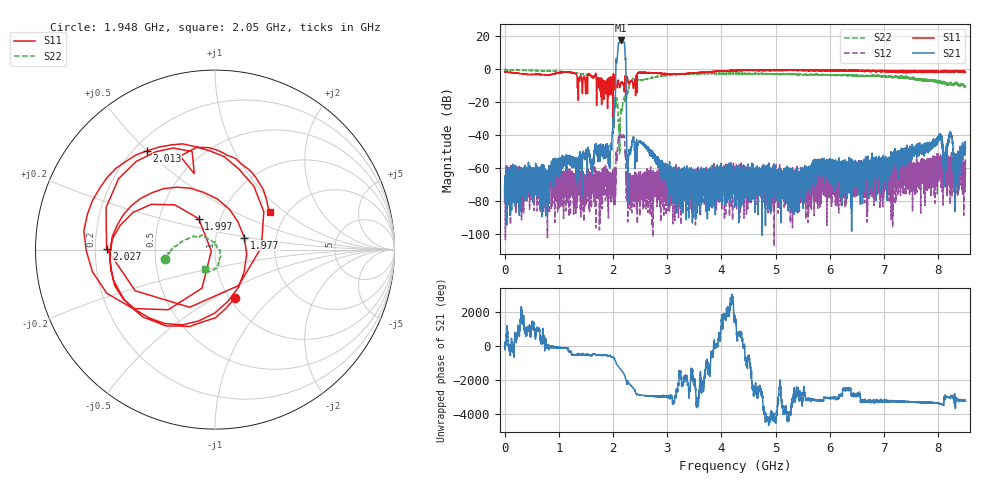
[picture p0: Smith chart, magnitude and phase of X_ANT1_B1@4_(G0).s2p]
#  HZ  S  RI  R  50.00
! Rohde & Schwarz Vector Network Analyzer
! Rohde-Schwarz,ZNBT8-20Port,1318700624101681,3.50
! Created: UTC 7/15/2025, 2:09:00 PM
! freq[Hz]  re:S1010  im:S1010  re:S0410  im:S0410  re:S1004  im:S1004  re:S44  im:S44
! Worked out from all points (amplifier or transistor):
!   8500 points, 1 MHz to 8.5 GHz, reference 50 ohm
!   highest |S21| = 17.5 dB at 2.144 GHz (marker M1)
!   |S21| within 3 dB of that: 2.095 GHz to 2.215 GHz (119.6 MHz wide, 5.55 % of centre)
!   unconditionally stable (mu >= 1): start of sweep to end of sweep
!   at 1.417 GHz: K = 793281.03, MAG = -51.2 dB, |S12| = -77.8 dB
!   at 4.251 GHz: K = 145715.74, MAG = -60.7 dB, |S12| = -60.3 dB
!   at 8.5 GHz: K = 20655.63, MAG = -42.8 dB, |S12| = -54.4 dB
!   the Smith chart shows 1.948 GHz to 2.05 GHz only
!   S11 on the Smith chart (normalised r, x): 1.948 GHz: 1.06, -0.63; 1.977 GHz: 1.38, +0.19; 1.997 GHz: 0.79, +0.28; 2.013 GHz: 0.25, +0.50; 2.027 GHz: 0.25, +0.00; 2.05 GHz: 1.64, +0.80
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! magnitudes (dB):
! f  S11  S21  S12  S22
! 1 MHz  -1.6  -73.4  -69.9  -0.3
! 1.418 GHz  -5.1  -58.6  -65.7  -2.7
! 1.948 GHz  -10.7  -53.1  -67.1  -10.9
! 1.977 GHz  -15.0  -46.9  -66.7  -13.7
! 1.997 GHz  -14.2  -37.9  -68.4  -18.0
! 2.013 GHz  -3.5  -32.4  -62.7  -27.5
! 2.027 GHz  -4.4  -17.5  -63.7  -25.6
! 2.05 GHz  -8.6  -6.8  -60.0  -18.3
! 2.144 GHz  -8.6  17.5  -39.8  -26.2
! 2.205 GHz  -10.9  16.3  -40.7  -17.2
! 2.293 GHz  -8.6  -50.1  -72.4  -11.3
! 2.509 GHz  -2.0  -44.1  -62.1  -6.4
! 2.834 GHz  -2.4  -56.0  -69.3  -4.3
! 3.261 GHz  -2.6  -73.8  -71.0  -2.9
! 4.251 GHz  -0.7  -72.3  -60.3  -2.5
! 5.667 GHz  -0.4  -59.8  -64.4  -3.1
! 7.084 GHz  -1.1  -58.5  -57.1  -4.2
! 8.018 GHz  -1.5  -40.6  -59.9  -7.5
! 8.122 GHz  -1.0  -52.7  -62.6  -7.6
! 8.221 GHz  -1.6  -38.8  -66.6  -8.9
! 8.317 GHz  -1.1  -54.9  -59.3  -8.8
! 8.5 GHz  -2.0  -47.6  -54.4  -10.1
